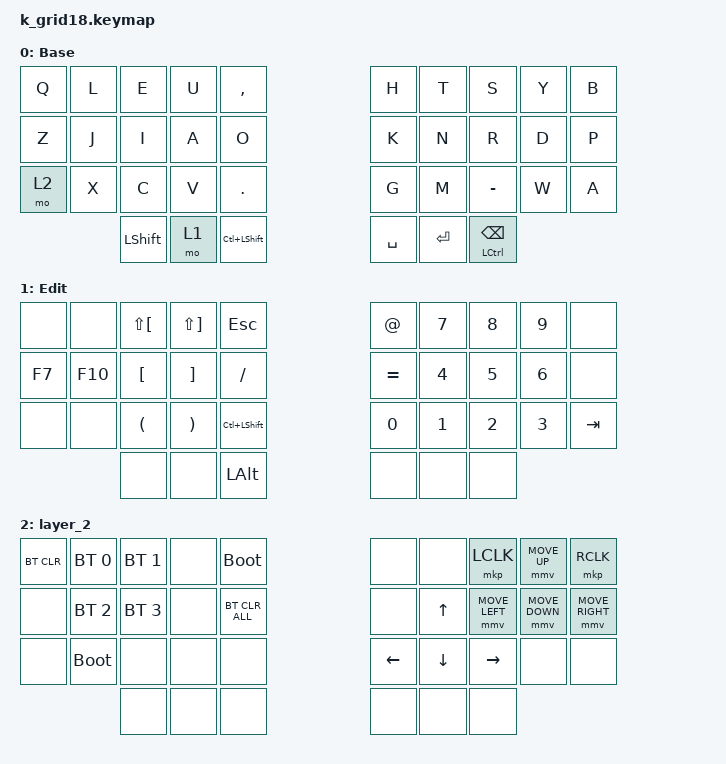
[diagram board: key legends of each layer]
#include <behaviors.dtsi>
#include <dt-bindings/zmk/bt.h>
#include <dt-bindings/zmk/keys.h>
#include <dt-bindings/zmk/pointing.h>

/ {
    combos {
        compatible = "zmk,combos";

        BS {
            bindings = <&kp BACKSPACE>;
            key-positions = <34 33>;
        };

        kanaE {
            bindings = <&kp LG(SPACE)>;
            key-positions = <32 31>;
        };

        CC {
            bindings = <&kp LC(SPACE)>;
            key-positions = <4 3>;
        };
    };

    keymap {
        compatible = "zmk,keymap";

        default_layer {
            display-name = "Base";
            bindings = <
&kp Q  &kp L  &kp E           &kp U  &kp COMMA       &kp H      &kp T      &kp S                &kp Y  &kp B
&kp Z  &kp J  &kp I           &kp A  &kp O           &kp K      &kp N      &kp R                &kp D  &kp P
&mo 2  &kp X  &kp C           &kp V  &kp DOT         &kp G      &kp M      &kp MINUS            &kp W  &kp A
              &kp LEFT_SHIFT  &mo 1  &kp LC(LSHIFT)  &kp SPACE  &kp ENTER  &mt LCTRL BACKSPACE
            >;
        };

        layer_1 {
            display-name = "Edit";
            bindings = <
&none   &none    &kp LS(LBKT)          &kp LS(RBKT)           &kp ESC             &kp AT     &kp N7  &kp N8  &kp N9  &none
&kp F7  &kp F10  &kp LBKT              &kp RIGHT_BRACKET      &kp SLASH           &kp EQUAL  &kp N4  &kp N5  &kp N6  &none
&none   &none    &kp LEFT_PARENTHESIS  &kp RIGHT_PARENTHESIS  &kp LC(LEFT_SHIFT)  &kp N0     &kp N1  &kp N2  &kp N3  &kp TAB
                 &none                 &none                  &kp LEFT_ALT        &none      &none   &none
            >;
        };

        layer_2 {
            bindings = <
&bt BT_CLR  &bt BT_SEL 0  &bt BT_SEL 1  &none  &bootloader     &none           &none         &mkp LCLK        &mmv MOVE_UP    &mkp RCLK
&none       &bt BT_SEL 2  &bt BT_SEL 3  &none  &bt BT_CLR_ALL  &none           &kp UP_ARROW  &mmv MOVE_LEFT   &mmv MOVE_DOWN  &mmv MOVE_RIGHT
&none       &bootloader   &none         &none  &none           &kp LEFT_ARROW  &kp DOWN      &kp RIGHT_ARROW  &none           &none
                          &none         &none  &none           &none           &none         &none
            >;
        };
    };
};
